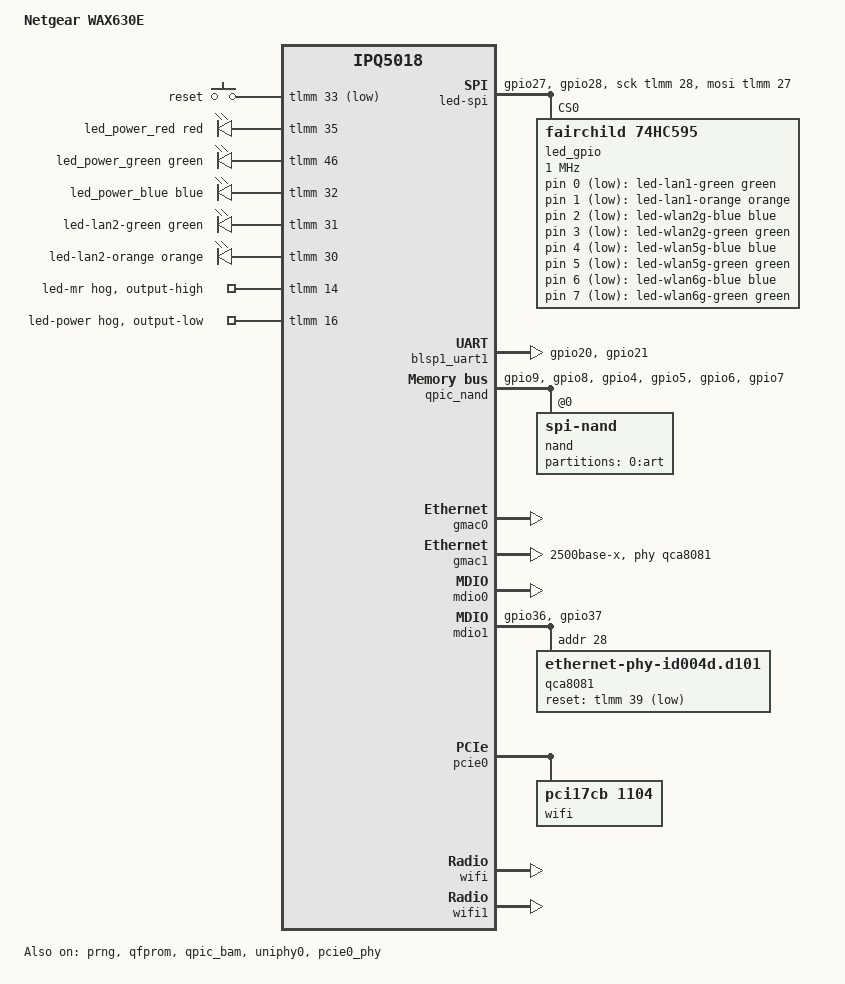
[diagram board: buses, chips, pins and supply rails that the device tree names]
// SPDX-License-Identifier: GPL-2.0-or-later OR MIT

/dts-v1/;

#include "ipq5018.dtsi"
#include "ipq5018-ess.dtsi"
#include "ipq5018-qcn6122.dtsi"

#include <dt-bindings/gpio/gpio.h>
#include <dt-bindings/input/input.h>
#include <dt-bindings/leds/common.h>

/ {
	model = "Netgear WAX630E";
	compatible = "netgear,wax630e", "qcom,ipq5018";

	aliases {
		serial0 = &blsp1_uart1;
		label-mac-device = &gmac1;

		led-boot = &led_power_blue;
		led-failsafe = &led_power_red;
		led-running = &led_power_green;
		led-upgrade = &led_power_blue;
	};

	chosen {
		/*
		 * U-Boot (bootipq) appends
		 * "ubi.mtd=rootfs root=mtd:ubi_rootfs rootfstype=squashfs",
		 * "rootfs" being the active slot.
		 */
		bootargs-append = " root=/dev/ubiblock0_1 swiotlb=1 coherent_pool=2M";
		stdout-path = "serial0:115200n8";
	};

	keys {
		compatible = "gpio-keys";

		pinctrl-0 = <&button_pins>;
		pinctrl-names = "default";

		reset-button {
			label = "reset";
			gpios = <&tlmm 33 GPIO_ACTIVE_LOW>;
			linux,code = <KEY_RESTART>;
		};
	};

	/*
	 * 74HC164 shift register for the LAN1 and radio LEDs.
	 * Stock firmware: data GPIO 27, clock GPIO 28, master reset GPIO 14.
	 */
	led-spi {
		compatible = "spi-gpio";
		#address-cells = <1>;
		#size-cells = <0>;

		pinctrl-0 = <&led_spi_pins>;
		pinctrl-names = "default";

		sck-gpios = <&tlmm 28 GPIO_ACTIVE_HIGH>;
		mosi-gpios = <&tlmm 27 GPIO_ACTIVE_HIGH>;

		led_gpio: led-gpio@0 {
			compatible = "fairchild,74hc595";
			reg = <0>;
			gpio-controller;
			#gpio-cells = <2>;
			registers-number = <1>;
			spi-max-frequency = <1000000>;
		};
	};

	leds {
		compatible = "gpio-leds";

		pinctrl-0 = <&leds_pins>;
		pinctrl-names = "default";

		led_power_red: led-power-red {
			color = <LED_COLOR_ID_RED>;
			function = LED_FUNCTION_POWER;
			gpios = <&tlmm 35 GPIO_ACTIVE_HIGH>;
		};

		led_power_green: led-power-green {
			color = <LED_COLOR_ID_GREEN>;
			function = LED_FUNCTION_POWER;
			gpios = <&tlmm 46 GPIO_ACTIVE_HIGH>;
		};

		led_power_blue: led-power-blue {
			color = <LED_COLOR_ID_BLUE>;
			function = LED_FUNCTION_POWER;
			gpios = <&tlmm 32 GPIO_ACTIVE_HIGH>;
		};

		led-lan1-green {
			color = <LED_COLOR_ID_GREEN>;
			function = LED_FUNCTION_LAN;
			function-enumerator = <1>;
			gpios = <&led_gpio 0 GPIO_ACTIVE_LOW>;
		};

		led-lan1-orange {
			color = <LED_COLOR_ID_ORANGE>;
			function = LED_FUNCTION_LAN;
			function-enumerator = <1>;
			gpios = <&led_gpio 1 GPIO_ACTIVE_LOW>;
		};

		led-lan2-green {
			color = <LED_COLOR_ID_GREEN>;
			function = LED_FUNCTION_LAN;
			function-enumerator = <2>;
			gpios = <&tlmm 31 GPIO_ACTIVE_HIGH>;
		};

		led-lan2-orange {
			color = <LED_COLOR_ID_ORANGE>;
			function = LED_FUNCTION_LAN;
			function-enumerator = <2>;
			gpios = <&tlmm 30 GPIO_ACTIVE_HIGH>;
		};

		led-wlan2g-blue {
			color = <LED_COLOR_ID_BLUE>;
			function = LED_FUNCTION_WLAN_2GHZ;
			gpios = <&led_gpio 2 GPIO_ACTIVE_LOW>;
			linux,default-trigger = "phy0radio";
		};

		led-wlan2g-green {
			color = <LED_COLOR_ID_GREEN>;
			function = LED_FUNCTION_WLAN_2GHZ;
			gpios = <&led_gpio 3 GPIO_ACTIVE_LOW>;
		};

		led-wlan5g-blue {
			color = <LED_COLOR_ID_BLUE>;
			function = LED_FUNCTION_WLAN_5GHZ;
			gpios = <&led_gpio 4 GPIO_ACTIVE_LOW>;
			linux,default-trigger = "phy2radio";
		};

		led-wlan5g-green {
			color = <LED_COLOR_ID_GREEN>;
			function = LED_FUNCTION_WLAN_5GHZ;
			gpios = <&led_gpio 5 GPIO_ACTIVE_LOW>;
		};

		led-wlan6g-blue {
			color = <LED_COLOR_ID_BLUE>;
			function = LED_FUNCTION_WLAN_6GHZ;
			gpios = <&led_gpio 6 GPIO_ACTIVE_LOW>;
			linux,default-trigger = "phy1radio";
		};

		led-wlan6g-green {
			color = <LED_COLOR_ID_GREEN>;
			function = LED_FUNCTION_WLAN_6GHZ;
			gpios = <&led_gpio 7 GPIO_ACTIVE_LOW>;
		};
	};
};

&sleep_clk {
	clock-frequency = <32000>;
};

&xo_board_clk {
	clock-div = <4>;
	clock-mult = <1>;
};

&blsp1_uart1 {
	status = "okay";

	pinctrl-0 = <&serial_0_pins>;
	pinctrl-names = "default";
};

&prng {
	status = "okay";
};

&qfprom {
	status = "okay";
};

&qpic_bam {
	status = "okay";
};

&qpic_nand {
	pinctrl-0 = <&qpic_pins>;
	pinctrl-names = "default";
	status = "okay";

	/* Macronix MX35UF2GE4AD, 256 MiB */
	nand@0 {
		compatible = "spi-nand";
		reg = <0>;
		nand-ecc-engine = <&qpic_nand>;
		nand-bus-width = <8>;
		/* as written by the stock bootloader, 8-bit ECC fails to read */
		nand-ecc-strength = <4>;
		nand-ecc-step-size = <512>;

		partitions {
			compatible = "qcom,smem-part";

			partition-0-art {
				label = "0:art";
				read-only;

				nvmem-layout {
					compatible = "fixed-layout";
					#address-cells = <1>;
					#size-cells = <1>;

					macaddr_lan1: macaddr@0 {
						reg = <0x0 0x6>;
					};

					macaddr_lan2: macaddr@6 {
						reg = <0x6 0x6>;
					};
				};
			};
		};
	};
};

/*
 * =================================================================
 *     _______________________             ____________
 *    |        IPQ5018        |           |            |
 *    | +------+   +--------+ |           | +--------+ |
 *    | | MAC0 |---| GE Phy |-+--- MDI ---+ | LAN2   | |  1G
 *    | +------+   +--------+ |           | +--------+ |
 *    |                       |           |____________|
 *    |                       |            _______________________
 *    |                       |           |        QCA8081        |
 *    | +------+   +--------+ |           | +--------+   +------+ |
 *    | | MAC1 |---| Uniphy |-+-- SGMII+--+ | Phy    |---| LAN1 | |  2.5G, PoE
 *    | +------+   +--------+ |           | +--------+   +------+ |
 *    |_______________________|           |_______________________|
 *
 * =================================================================
 */

&uniphy0 {
	status = "okay";

	assigned-clocks = <&uniphy0 UNIPHY_CLK_REF>;
	assigned-clock-rates = <UNIPHY_REFCLK_50MHZ>;
};

// MAC0 ---MDI---> IPQ5018 GE PHY
&gmac0 {
	status = "okay";

	label = "lan2";

	nvmem-cells = <&macaddr_lan2>;
	nvmem-cell-names = "mac-address";
};

// MAC1 ---SGMII+---> QCA8081
&gmac1 {
	status = "okay";

	phy-handle = <&qca8081>;
	phy-mode = "2500base-x";

	label = "lan1";

	nvmem-cells = <&macaddr_lan1>;
	nvmem-cell-names = "mac-address";
};

&mdio0 {
	status = "okay";
};

&mdio1 {
	status = "okay";

	pinctrl-0 = <&mdio1_pins>;
	pinctrl-names = "default";

	qca8081: ethernet-phy@28 {
		compatible = "ethernet-phy-id004d.d101";
		reg = <28>;
		reset-deassert-us = <10000>;
		reset-gpios = <&tlmm 39 GPIO_ACTIVE_LOW>;
	};
};

&tlmm {
	button_pins: button-state {
		pins = "gpio33";
		function = "gpio";
		drive-strength = <8>;
		bias-pull-up;
	};

	led_spi_pins: led-spi-state {
		pins = "gpio27", "gpio28";
		function = "gpio";
		drive-strength = <8>;
		bias-disable;
	};

	leds_pins: leds-state {
		pins = "gpio30", "gpio31", "gpio32", "gpio35", "gpio46";
		function = "gpio";
		drive-strength = <8>;
		bias-disable;
	};

	mdio1_pins: mdio-state {
		mdc-pins {
			pins = "gpio36";
			function = "mdc";
			drive-strength = <8>;
			bias-pull-up;
		};

		mdio-pins {
			pins = "gpio37";
			function = "mdio";
			drive-strength = <8>;
			bias-pull-up;
		};
	};

	qpic_pins: qpic-state {
		clock-pins {
			pins = "gpio9";
			function = "qspi_clk";
			drive-strength = <8>;
			bias-disable;
		};

		cs-pins {
			pins = "gpio8";
			function = "qspi_cs";
			drive-strength = <8>;
			bias-disable;
		};

		data-pins {
			pins = "gpio4", "gpio5", "gpio6", "gpio7";
			function = "qspi_data";
			drive-strength = <8>;
			bias-disable;
		};
	};

	serial_0_pins: uart0-state {
		pins = "gpio20", "gpio21";
		function = "blsp0_uart0";
		bias-disable;
	};

	/*
	 * Nothing consumes these, drive them as the stock firmware does:
	 * 74HC164 master reset released, LED supply switched on.
	 */
	led-mr-hog {
		gpio-hog;
		gpios = <14 GPIO_ACTIVE_HIGH>;
		output-high;
		line-name = "led-mr";
	};

	led-power-hog {
		gpio-hog;
		gpios = <16 GPIO_ACTIVE_HIGH>;
		output-low;
		line-name = "led-power";
	};
};

/* QCN9024, 5 GHz 4x4 */
&pcie0_phy {
	status = "okay";
};

&pcie0 {
	status = "okay";

	perst-gpios = <&tlmm 15 GPIO_ACTIVE_LOW>;

	pcie@0 {
		wifi@0,0 {
			status = "okay";

			/* QCN9074: ath11k lacks DT compatible for PCI cards */
			compatible = "pci17cb,1104";
			reg = <0x00010000 0 0 0 0>;

			qcom,ath11k-calibration-variant = "Netgear-WAX630E";
		};
	};
};

/* IPQ5018, 2.4 GHz */
&wifi {
	status = "okay";

	qcom,rproc = <&q6_wcss_pd1>;
	qcom,userpd-subsys-name = "q6v5_wcss_userpd1";
	qcom,ath11k-calibration-variant = "Netgear-WAX630E";
	qcom,ath11k-fw-memory-mode = <1>;
	qcom,bdf-addr = <0x4c400000>;
};

/* QCN6122, 6 GHz */
&wifi1 {
	status = "okay";

	qcom,rproc = <&q6_wcss_pd2>;
	qcom,userpd-subsys-name = "q6v5_wcss_userpd2";
	qcom,ath11k-calibration-variant = "Netgear-WAX630E";
	qcom,ath11k-fw-memory-mode = <1>;
	qcom,bdf-addr = <0x4d100000>;
	qcom,m3-dump-addr = <0x4df00000>;
};
